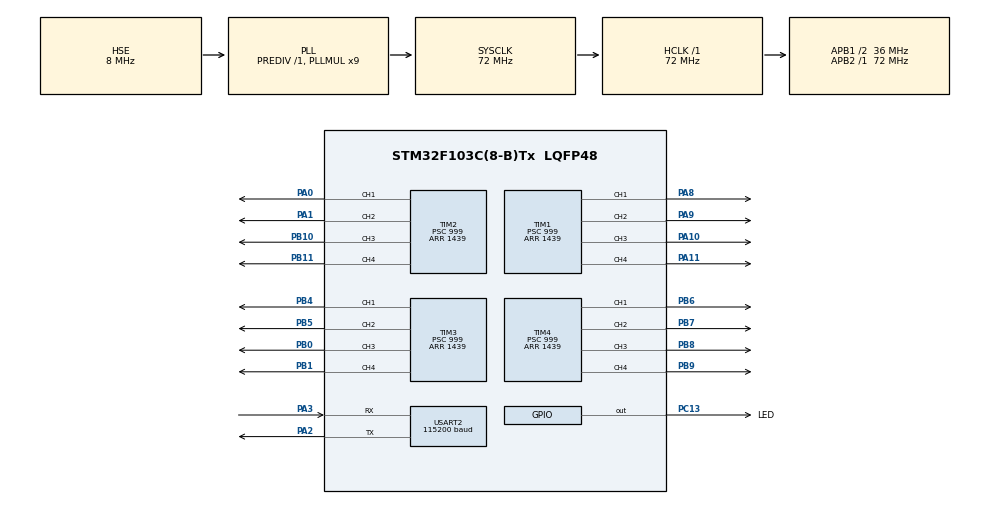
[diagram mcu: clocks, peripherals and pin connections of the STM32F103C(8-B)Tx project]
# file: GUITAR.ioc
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Mcu.Family=STM32F1
Mcu.Name=STM32F103C(8-B)Tx
Mcu.Package=LQFP48
NVIC.PriorityGroup=NVIC_PRIORITYGROUP_4
NVIC.TIM1_UP_IRQn=true\:0\:0\:false\:false\:true\:true\:true\:true
NVIC.TIM2_IRQn=true\:0\:0\:false\:false\:true\:true\:true\:true
NVIC.TIM3_IRQn=true\:0\:0\:false\:false\:true\:true\:true\:true
NVIC.TIM4_IRQn=true\:0\:0\:false\:false\:true\:true\:true\:true
NVIC.USART2_IRQn=true\:0\:0\:false\:false\:true\:true\:true\:true
PA0-WKUP.Signal=S_TIM2_CH1_ETR
PA1.Signal=S_TIM2_CH2
PA10.Signal=S_TIM1_CH3
PA11.Signal=S_TIM1_CH4
PA13.Mode=Serial_Wire
PA13.Signal=SYS_JTMS-SWDIO
PA14.Mode=Serial_Wire
PA14.Signal=SYS_JTCK-SWCLK
PA2.Mode=Asynchronous
PA2.Signal=USART2_TX
PA3.Mode=Asynchronous
PA3.Signal=USART2_RX
PA8.Signal=S_TIM1_CH1
PA9.Signal=S_TIM1_CH2
PB0.Signal=S_TIM3_CH3
PB1.Signal=S_TIM3_CH4
PB10.Signal=S_TIM2_CH3
PB11.Signal=S_TIM2_CH4
PB4.Signal=S_TIM3_CH1
PB5.Signal=S_TIM3_CH2
PB6.Signal=S_TIM4_CH1
PB7.Signal=S_TIM4_CH2
PB8.Signal=S_TIM4_CH3
PB9.Signal=S_TIM4_CH4
PC13-TAMPER-RTC.GPIO_Label=LED
PC13-TAMPER-RTC.GPIO_PuPd=GPIO_PULLUP
PC13-TAMPER-RTC.Signal=GPIO_Output
PD0-OSC_IN.Mode=HSE-External-Oscillator
PD0-OSC_IN.Signal=RCC_OSC_IN
PD1-OSC_OUT.Mode=HSE-External-Oscillator
PD1-OSC_OUT.Signal=RCC_OSC_OUT
ProjectManager.HeapSize=0x200
ProjectManager.StackSize=0x400
ProjectManager.TargetToolchain=Makefile
RCC.AHBFreq_Value=72000000
RCC.APB1CLKDivider=RCC_HCLK_DIV2
RCC.APB1Freq_Value=36000000
RCC.APB1TimFreq_Value=72000000
RCC.APB2Freq_Value=72000000
RCC.APB2TimFreq_Value=72000000
RCC.HCLKFreq_Value=72000000
RCC.PLLMUL=RCC_PLL_MUL9
RCC.PLLSourceVirtual=RCC_PLLSOURCE_HSE
RCC.SYSCLKFreq_VALUE=72000000
RCC.SYSCLKSource=RCC_SYSCLKSOURCE_PLLCLK
RCC.USBFreq_Value=72000000
SH.S_TIM1_CH1.0=TIM1_CH1,PWM Generation1 CH1
SH.S_TIM1_CH2.0=TIM1_CH2,PWM Generation2 CH2
SH.S_TIM1_CH3.0=TIM1_CH3,PWM Generation3 CH3
SH.S_TIM1_CH4.0=TIM1_CH4,PWM Generation4 CH4
SH.S_TIM2_CH1_ETR.0=TIM2_CH1,PWM Generation1 CH1
SH.S_TIM2_CH2.0=TIM2_CH2,PWM Generation2 CH2
SH.S_TIM2_CH3.0=TIM2_CH3,PWM Generation3 CH3
SH.S_TIM2_CH4.0=TIM2_CH4,PWM Generation4 CH4
SH.S_TIM3_CH1.0=TIM3_CH1,PWM Generation1 CH1
SH.S_TIM3_CH2.0=TIM3_CH2,PWM Generation2 CH2
SH.S_TIM3_CH3.0=TIM3_CH3,PWM Generation3 CH3
SH.S_TIM3_CH4.0=TIM3_CH4,PWM Generation4 CH4
SH.S_TIM4_CH1.0=TIM4_CH1,PWM Generation1 CH1
SH.S_TIM4_CH2.0=TIM4_CH2,PWM Generation2 CH2
SH.S_TIM4_CH3.0=TIM4_CH3,PWM Generation3 CH3
SH.S_TIM4_CH4.0=TIM4_CH4,PWM Generation4 CH4
TIM1.Channel-PWM\ Generation1\ CH1=TIM_CHANNEL_1
TIM1.Channel-PWM\ Generation2\ CH2=TIM_CHANNEL_2
TIM1.Channel-PWM\ Generation3\ CH3=TIM_CHANNEL_3
TIM1.Channel-PWM\ Generation4\ CH4=TIM_CHANNEL_4
TIM1.Period=1439
TIM1.Prescaler=999
TIM2.Channel-PWM\ Generation1\ CH1=TIM_CHANNEL_1
TIM2.Channel-PWM\ Generation2\ CH2=TIM_CHANNEL_2
TIM2.Channel-PWM\ Generation3\ CH3=TIM_CHANNEL_3
TIM2.Channel-PWM\ Generation4\ CH4=TIM_CHANNEL_4
TIM2.Period=1439
TIM2.Prescaler=999
TIM3.Channel-PWM\ Generation1\ CH1=TIM_CHANNEL_1
TIM3.Channel-PWM\ Generation2\ CH2=TIM_CHANNEL_2
TIM3.Channel-PWM\ Generation3\ CH3=TIM_CHANNEL_3
TIM3.Channel-PWM\ Generation4\ CH4=TIM_CHANNEL_4
TIM3.Period=1439
TIM3.Prescaler=999
TIM4.Channel-PWM\ Generation1\ CH1=TIM_CHANNEL_1
TIM4.Channel-PWM\ Generation2\ CH2=TIM_CHANNEL_2
TIM4.Channel-PWM\ Generation3\ CH3=TIM_CHANNEL_3
TIM4.Channel-PWM\ Generation4\ CH4=TIM_CHANNEL_4
TIM4.Period=1439
TIM4.Prescaler=999
USART2.BaudRate=115200
USART2.VirtualMode=VM_ASYNC
VP_TIM1_VS_ClockSourceINT.Mode=Internal
VP_TIM2_VS_ClockSourceINT.Mode=Internal
VP_TIM3_VS_ClockSourceINT.Mode=Internal
VP_TIM4_VS_ClockSourceINT.Mode=Internal
board=custom

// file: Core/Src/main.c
/* USER CODE BEGIN Header */
/**
  ******************************************************************************
  * @file           : main.c
  * @brief          : Main program body
  ******************************************************************************
  * @attention
  *
  * Copyright (c) 2022 STMicroelectronics.
  * All rights reserved.
  *
  * This software is licensed under terms that can be found in the LICENSE file
  * in the root directory of this software component.
  * If no LICENSE file comes with this software, it is provided AS-IS.
  *
  ******************************************************************************
  */
/* USER CODE END Header */
#include "main.h"
#include "tim.h"
#include "usart.h"
#include "gpio.h"

/* USER CODE BEGIN Includes */
#include "stdbool.h"
#include "stdlib.h"
#include "stdio.h"
#include "string.h"
#include "servo.h"
/* USER CODE END Includes */

/* USER CODE BEGIN PV */

uint8_t RX2_CHAR = '\0';
uint8_t RX2_DATA = '\0';
int RX2_INX = 0;
uint8_t RX2_BUF[10] = {0};
volatile bool isDataReady = false;

// Khoang 3
servo_t servo_k_3_1 = {
  &htim3,
  TIM_CHANNEL_3
};
servo_t servo_k_3_2 = {
  &htim3,
  TIM_CHANNEL_4
};
servo_t servo_k_3_3 = {
  &htim2,
  TIM_CHANNEL_3
};
servo_t servo_k_3_4 = {
  &htim2,
  TIM_CHANNEL_4
};
servo_t servo_k_3_5 = {
  &htim3,
  TIM_CHANNEL_1
};
servo_t servo_k_3_6 = {
  &htim3,
  TIM_CHANNEL_2
};

// Khoang 4
servo_t servo_k_4_1 = {
  &htim1,
  TIM_CHANNEL_4
};
servo_t servo_k_4_2 = {
  &htim1,
  TIM_CHANNEL_3
};
servo_t servo_k_4_3 = {
  &htim1,
  TIM_CHANNEL_2
};
servo_t servo_k_4_4 = {
  &htim1,
  TIM_CHANNEL_1
};
servo_t servo_k_4_5 = {
  &htim2,
  TIM_CHANNEL_1
};
servo_t servo_k_4_6 = {
  &htim2,
  TIM_CHANNEL_2
};
/* USER CODE END PV */

void SystemClock_Config(void);
/* USER CODE BEGIN PFP */

void HAL_UART_RxCpltCallback(UART_HandleTypeDef *huart)
{
  if (huart == &huart2)
  {
    if (RX2_CHAR != '\0')
    {
      RX2_BUF[RX2_INX++] = RX2_CHAR;
      if (RX2_CHAR == 0x03)
      {
        RX2_DATA = RX2_BUF[RX2_INX - 2];
        RX2_INX = 0;
        RX2_CHAR = '\0';
        memset(RX2_BUF, '\0', sizeof(RX2_BUF));
        uint8_t temp[3] = {0};
        temp[0] = 0xC0;
        temp[1] = RX2_DATA;
        temp[2] = 0x03;
        HAL_UART_Transmit_IT(&huart2, temp, 3);
        HAL_GPIO_TogglePin(LED_GPIO_Port, LED_Pin);
        isDataReady = true;
      }
      RX2_CHAR = '\0';
    }
    HAL_UART_Receive_IT(&huart2, &RX2_CHAR, 1);
  }
}
/* USER CODE END PFP */

int main(void)
{

  /* MCU Configuration--------------------------------------------------------*/

  /* Reset of all peripherals, Initializes the Flash interface and the Systick. */
  HAL_Init();

  /* Configure the system clock */
  SystemClock_Config();

  /* Initialize all configured peripherals */
  MX_GPIO_Init();
  MX_TIM1_Init();
  MX_TIM2_Init();
  MX_TIM3_Init();
  MX_TIM4_Init();
  MX_USART2_UART_Init();
  /* USER CODE BEGIN 2 */
  HAL_UART_Receive_IT(&huart2, &RX2_CHAR, 1);

  Servo_Init(&servo_k_3_1, servo_k_3_1.htim, servo_k_3_1.channel);
  Set_servo_xp(&servo_k_3_1, K3_W1_RELEASE);
  Servo_Init(&servo_k_3_2, servo_k_3_2.htim, servo_k_3_2.channel);
  Set_servo_xp(&servo_k_3_2, K3_W2_RELEASE);
  Servo_Init(&servo_k_3_3, servo_k_3_3.htim, servo_k_3_3.channel);
  Set_servo_xp(&servo_k_3_3, K3_W3_RELEASE);
  Servo_Init(&servo_k_3_4, servo_k_3_4.htim, servo_k_3_4.channel);
  Set_servo_xp(&servo_k_3_4, K3_W4_RELEASE);
  Servo_Init(&servo_k_3_5, servo_k_3_5.htim, servo_k_3_5.channel);
  Set_servo_xp(&servo_k_3_5, K3_W5_RELEASE);
  Servo_Init(&servo_k_3_6, servo_k_3_6.htim, servo_k_3_6.channel);
  Set_servo_xp(&servo_k_3_6, K3_W6_RELEASE);

  // Servo_Init(&servo_k_4_1, servo_k_4_1.htim, servo_k_4_1.channel);
  // Set_servo_xp(&servo_k_4_1, K4_W1_RELEASE);
  // Servo_Init(&servo_k_4_2, servo_k_4_2.htim, servo_k_4_2.channel);
  // Set_servo_xp(&servo_k_4_2, K4_W2_RELEASE);
  // Servo_Init(&servo_k_4_3, servo_k_4_3.htim, servo_k_4_3.channel);
  // Set_servo_xp(&servo_k_4_3, K4_W3_RELEASE);
  // Servo_Init(&servo_k_4_4, servo_k_4_4.htim, servo_k_4_4.channel);
  // Set_servo_xp(&servo_k_4_4, K4_W4_RELEASE);
  // Servo_Init(&servo_k_4_5, servo_k_4_5.htim, servo_k_4_5.channel);
  // Set_servo_xp(&servo_k_4_5, K4_W5_RELEASE);
  // Servo_Init(&servo_k_4_6, servo_k_4_6.htim, servo_k_4_6.channel);
  // Set_servo_xp(&servo_k_4_6, K4_W6_RELEASE);

  uint32_t timeLoop = 2000;
  HAL_GPIO_WritePin(LED_GPIO_Port, LED_Pin, GPIO_PIN_RESET);
  /* USER CODE END 2 */

  /* Infinite loop */
  while (1)
  {

    /* USER CODE BEGIN 3 */

    if (isDataReady == true)
    {
      uint8_t fret = (RX2_DATA >> 4) & 0x03;
      uint8_t state = (RX2_DATA >> 3) & 0x01;
      uint8_t wire = (RX2_DATA & 0x07);

      if (fret == FRET_3RD)
      {
        if (wire == WIRE_1ST)
        {
          Set_servo_xp(&servo_k_3_1, ((state == 1)? K3_W1_PRESS:K3_W1_RELEASE));
        }
        else if (wire == WIRE_2ND)
        {
          Set_servo_xp(&servo_k_3_2, ((state == 1)? K3_W2_PRESS:K3_W2_RELEASE));
        }
        else if (wire == WIRE_3RD)
        {
          Set_servo_xp(&servo_k_3_3, ((state == 1)? K3_W3_PRESS:K3_W3_RELEASE));
        }
        else if (wire == WIRE_4TH)
        {
          Set_servo_xp(&servo_k_3_4, ((state == 1)? K3_W4_PRESS:K3_W4_RELEASE));
        }
        else if (wire == WIRE_5TH)
        {
          Set_servo_xp(&servo_k_3_5, ((state == 1)? K3_W5_PRESS:K3_W5_RELEASE));
        }
        else if (wire == WIRE_6TH)
        {
          Set_servo_xp(&servo_k_3_6, ((state == 1)? K3_W6_PRESS:K3_W6_RELEASE));
        }
      }
      else if (fret == FRET_4TH)
      {
        if (wire == WIRE_1ST)
        {
          Set_servo_xp(&servo_k_4_1, ((state == 1)? K4_W1_PRESS:K4_W1_RELEASE));
        }
        else if (wire == WIRE_2ND)
        {
          Set_servo_xp(&servo_k_4_2, ((state == 1)? K4_W2_PRESS:K4_W2_RELEASE));
        }
        else if (wire == WIRE_3RD)
        {
          Set_servo_xp(&servo_k_4_3, ((state == 1)? K4_W3_PRESS:K4_W3_RELEASE));
        }
        else if (wire == WIRE_4TH)
        {
          Set_servo_xp(&servo_k_4_4, ((state == 1)? K4_W4_PRESS:K4_W4_RELEASE));
        }
        else if (wire == WIRE_5TH)
        {
          Set_servo_xp(&servo_k_4_5, ((state == 1)? K4_W5_PRESS:K4_W5_RELEASE));
        }
        else if (wire == WIRE_6TH)
        {
          Set_servo_xp(&servo_k_4_6, ((state == 1)? K4_W6_PRESS:K4_W6_RELEASE));
        }
      }
      RX2_DATA = 0;
      isDataReady = false;
    }

    // Set_servo_xp(&servo_k_3_1, K3_W1_RELEASE);
    // HAL_Delay(timeLoop);
    // Set_servo_xp(&servo_k_3_1, K3_W1_PRESS);
    // HAL_Delay(timeLoop);
    // Set_servo_xp(&servo_k_3_1, K3_W1_RELEASE);
    // HAL_Delay(500);

    // Set_servo_xp(&servo_k_3_2, K3_W2_RELEASE);
    // HAL_Delay(timeLoop);
    // Set_servo_xp(&servo_k_3_2, K3_W2_PRESS);
    // HAL_Delay(timeLoop);
    // Set_servo_xp(&servo_k_3_2, K3_W2_RELEASE);
    // HAL_Delay(500);

    // Set_servo_xp(&servo_k_3_3, K3_W3_RELEASE);
    // HAL_Delay(timeLoop);
    // Set_servo_xp(&servo_k_3_3, K3_W3_PRESS);
    // HAL_Delay(timeLoop);
    // Set_servo_xp(&servo_k_3_3, K3_W3_RELEASE);
    // HAL_Delay(500);

    // Set_servo_xp(&servo_k_3_4, K3_W4_RELEASE);
    // HAL_Delay(timeLoop);
    // Set_servo_xp(&servo_k_3_4, K3_W4_PRESS);
    // HAL_Delay(timeLoop);
    // Set_servo_xp(&servo_k_3_4, K3_W4_RELEASE);
    // HAL_Delay(500);

    // Set_servo_xp(&servo_k_3_5, K3_W5_RELEASE);
    // HAL_Delay(timeLoop);
    // Set_servo_xp(&servo_k_3_5, K3_W5_PRESS);
    // HAL_Delay(timeLoop);
    // Set_servo_xp(&servo_k_3_5, K3_W5_RELEASE);
    // HAL_Delay(500);

    // Set_servo_xp(&servo_k_3_6, K3_W6_RELEASE);
    // HAL_Delay(timeLoop);
    // Set_servo_xp(&servo_k_3_6, K3_W6_PRESS);
    // HAL_Delay(timeLoop);
    // Set_servo_xp(&servo_k_3_6, K3_W6_RELEASE);
    // HAL_Delay(500);

  }
  /* USER CODE END 3 */
}

void SystemClock_Config(void)
{
  RCC_OscInitTypeDef RCC_OscInitStruct = {0};
  RCC_ClkInitTypeDef RCC_ClkInitStruct = {0};

  /** Initializes the RCC Oscillators according to the specified parameters
  * in the RCC_OscInitTypeDef structure.
  */
  RCC_OscInitStruct.OscillatorType = RCC_OSCILLATORTYPE_HSE;
  RCC_OscInitStruct.HSEState = RCC_HSE_ON;
  RCC_OscInitStruct.HSEPredivValue = RCC_HSE_PREDIV_DIV1;
  RCC_OscInitStruct.HSIState = RCC_HSI_ON;
  RCC_OscInitStruct.PLL.PLLState = RCC_PLL_ON;
  RCC_OscInitStruct.PLL.PLLSource = RCC_PLLSOURCE_HSE;
  RCC_OscInitStruct.PLL.PLLMUL = RCC_PLL_MUL9;
  if (HAL_RCC_OscConfig(&RCC_OscInitStruct) != HAL_OK)
  {
    Error_Handler();
  }

  /** Initializes the CPU, AHB and APB buses clocks
  */
  RCC_ClkInitStruct.ClockType = RCC_CLOCKTYPE_HCLK|RCC_CLOCKTYPE_SYSCLK
                              |RCC_CLOCKTYPE_PCLK1|RCC_CLOCKTYPE_PCLK2;
  RCC_ClkInitStruct.SYSCLKSource = RCC_SYSCLKSOURCE_PLLCLK;
  RCC_ClkInitStruct.AHBCLKDivider = RCC_SYSCLK_DIV1;
  RCC_ClkInitStruct.APB1CLKDivider = RCC_HCLK_DIV2;
  RCC_ClkInitStruct.APB2CLKDivider = RCC_HCLK_DIV1;

  if (HAL_RCC_ClockConfig(&RCC_ClkInitStruct, FLASH_LATENCY_2) != HAL_OK)
  {
    Error_Handler();
  }
}

void Error_Handler(void)
{
  __disable_irq();
  while (1)
  {
  }
}
